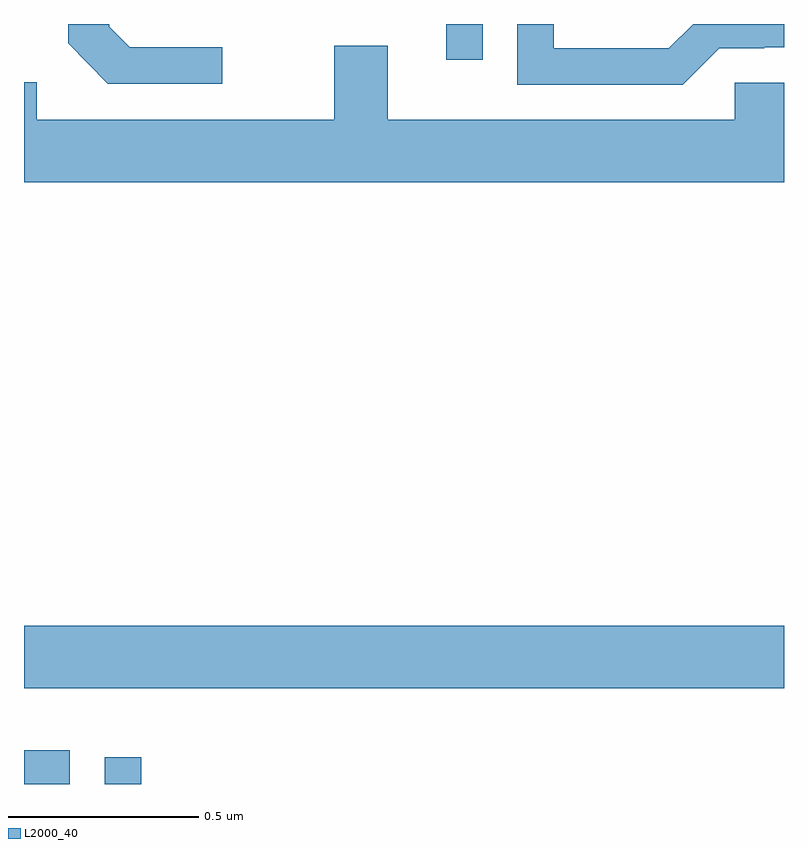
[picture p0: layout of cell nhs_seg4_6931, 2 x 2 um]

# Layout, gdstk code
import gdstk
lib = gdstk.Library(unit=1e-6, precision=1e-09)
def R(c, l, rs):  # rectangles x0, y0, x1, y1
    for r in rs: c.add(gdstk.rectangle(r[:2], r[2:], *l))
def P(c, l, *ps):  # polygons
    for p in ps: c.add(gdstk.Polygon(p, *l))
L2000_40 = (2000, 40)

nhs_seg4_6931 = lib.new_cell('nhs_seg4_6931')
R(nhs_seg4_6931, L2000_40, [(196,797.9,196.12,797.989), (196.212,797.9,196.308,797.971), (196,798.152,198,798.316), (197.111,799.806,197.207,799.9)])
P(nhs_seg4_6931, L2000_40, [(197.829,799.836),(197.948,799.836),(197.948,799.839),(198,799.839),(198,799.9),(197.761,799.9),(197.697,799.836),(197.394,799.836),(197.394,799.9),(197.298,799.9),(197.298,799.74),(197.733,799.74)],
  [(196.522,799.839),(196.278,799.839),(196.224,799.893),(196.224,799.9),(196.116,799.9),(196.116,799.849),(196.221,799.743),(196.522,799.743)],
  [(198,799.746),(197.871,799.746),(197.871,799.648),(196.957,799.648),(196.957,799.843),(196.817,799.843),(196.817,799.648),(196.033,799.648),(196.033,799.747),(196,799.747),(196,799.484),(198,799.484)])

lib.write_gds('nhs_seg4_6931.gds')
